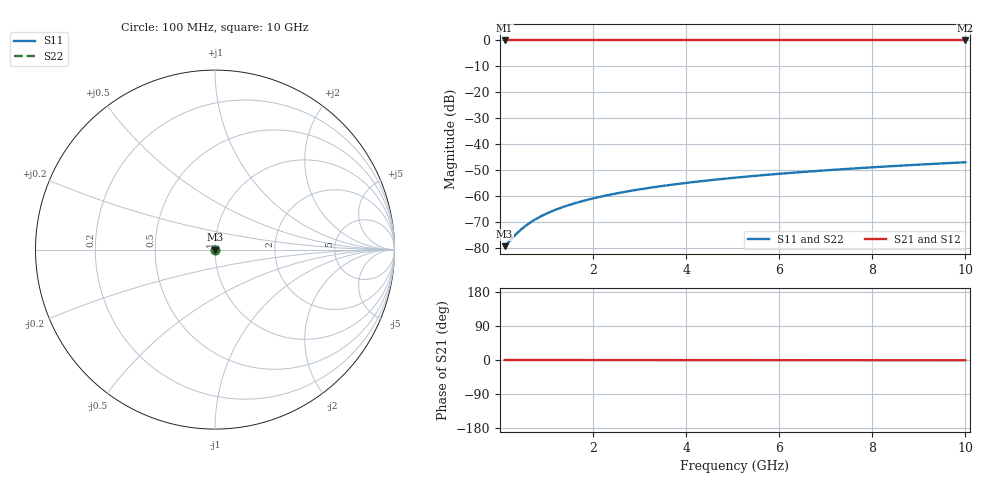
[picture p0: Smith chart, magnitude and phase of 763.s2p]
# Hz S RI R 50.00
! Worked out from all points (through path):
!   100 points, 100 MHz to 10 GHz, reference 50 ohm
!   highest |S21| = 0.00 dB at 100 MHz (marker M1); lowest = 0.0 dB at 10 GHz (marker M2)
!   lowest |S11| = -79.5 dB at 100 MHz (marker M3), VSWR 1.00, Z = 50 + j0.00442 ohm
!   |S11| at or under -10 dB: start of sweep to end of sweep
!   |S22| runs from -79.5 to -47.1 dB; largest |S21 - S12| = 0
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1e8  9.67e-05 4.41e-05  0.9999 -0.00012  0.9999 -0.00012  9.67e-05 4.41e-05
2e8  9.73e-05 8.83e-05  0.9999 -0.000241  0.9999 -0.000241  9.73e-05 8.83e-05
3e8  9.78e-05 0.000132  0.9999 -0.000361  0.9999 -0.000361  9.78e-05 0.000132
4e8  9.82e-05 0.000177  0.9999 -0.000481  0.9999 -0.000481  9.82e-05 0.000177
5e8  9.85e-05 0.000221  0.9999 -0.000601  0.9999 -0.000601  9.85e-05 0.000221
6e8  9.89e-05 0.000265  0.9999 -0.000722  0.9999 -0.000722  9.89e-05 0.000265
7e8  9.92e-05 0.000309  0.9999 -0.000842  0.9999 -0.000842  9.92e-05 0.000309
8e8  9.95e-05 0.000353  0.9999 -0.000962  0.9999 -0.000962  9.95e-05 0.000353
1e9  0.0001 0.000441  0.9999 -0.0012  0.9999 -0.0012  0.0001 0.000441
1.2e9  0.000101 0.00053  0.9999 -0.00144  0.9999 -0.00144  0.000101 0.00053
1.5e9  0.000101 0.000662  0.9999 -0.0018  0.9999 -0.0018  0.000101 0.000662
1.8e9  0.000102 0.000795  0.9999 -0.00217  0.9999 -0.00217  0.000102 0.000795
2.1e9  0.000103 0.000927  0.9999 -0.00253  0.9999 -0.00253  0.000103 0.000927
2.5e9  0.000105 0.0011  0.9999 -0.00301  0.9999 -0.00301  0.000105 0.0011
2.9e9  0.000106 0.00128  0.9999 -0.00349  0.9999 -0.00349  0.000106 0.00128
3.4e9  0.000108 0.0015  0.9999 -0.00409  0.9999 -0.00409  0.000108 0.0015
4.2e9  0.000112 0.00186  0.9999 -0.00506  0.9999 -0.00506  0.000112 0.00186
5.1e9  0.000117 0.00225  0.9999 -0.00615  0.9999 -0.00615  0.000117 0.00225
5.9e9  0.000122 0.00261  0.9999 -0.00711  0.9999 -0.00711  0.000122 0.00261
6.7e9  0.000128 0.00296  0.9999 -0.00808  0.9999 -0.00808  0.000128 0.00296
8.4e9  0.000143 0.00372  0.9998 -0.0101  0.9998 -0.0101  0.000143 0.00372
1e10  0.00016 0.00444  0.9998 -0.0121  0.9998 -0.0121  0.00016 0.00444
